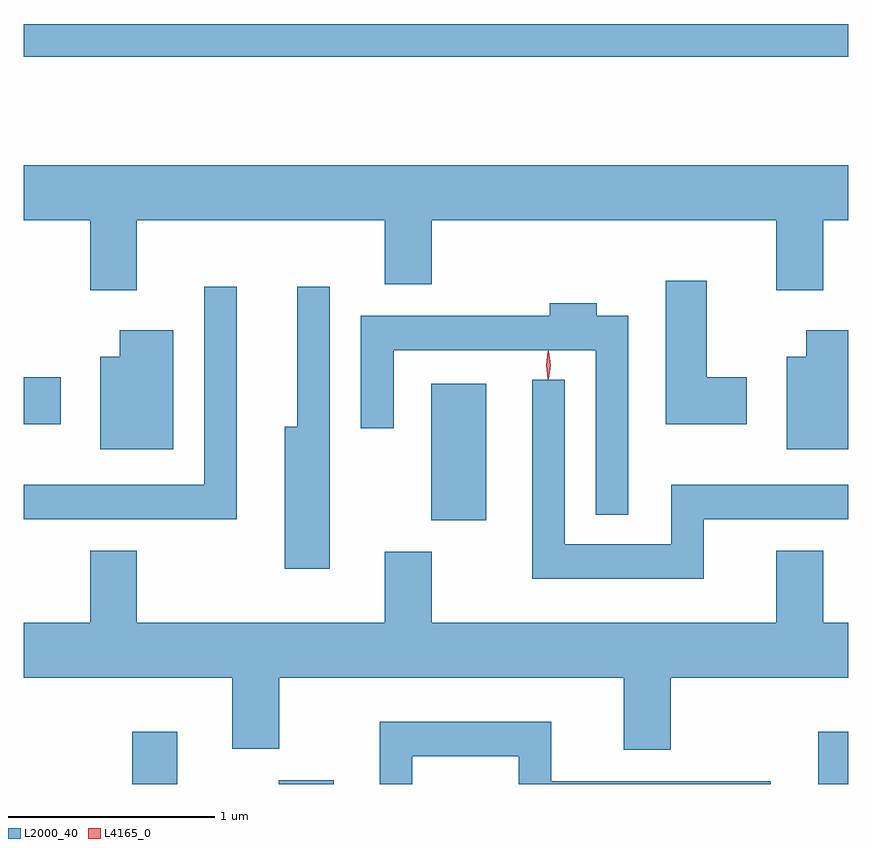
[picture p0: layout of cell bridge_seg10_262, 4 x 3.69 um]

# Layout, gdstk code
import gdstk
lib = gdstk.Library(unit=1e-6, precision=1e-09)
def R(c, l, rs):  # rectangles x0, y0, x1, y1
    for r in rs: c.add(gdstk.rectangle(r[:2], r[2:], *l))
def P(c, l, *ps):  # polygons
    for p in ps: c.add(gdstk.Polygon(p, *l))
L2000_40 = (2000, 40)
L4165_0 = (4165, 0)

bridge_seg10_262 = lib.new_cell('bridge_seg10_262')
R(bridge_seg10_262, L2000_40, [(1804.816,2100.081,1805.034,2100.334), (1805.526,2100.081,1805.794,2100.099), (1808.146,2100.081,1808.29,2100.334), (1806.266,2101.361,1806.534,2102.024), (1804.29,2101.826,1804.469,2102.054), (1804.29,2103.611,1808.29,2103.769)])
P(bridge_seg10_262, L2000_40, [(1804.839,2102.816),(1806.041,2102.816),(1806.041,2102.506),(1806.269,2102.506),(1806.269,2102.816),(1807.941,2102.816),(1807.941,2102.476),(1808.169,2102.476),(1808.169,2102.816),(1808.29,2102.816),(1808.29,2103.084),(1804.29,2103.084),(1804.29,2102.816),(1804.611,2102.816),(1804.611,2102.476),(1804.839,2102.476)],
  [(1807.799,2102.054),(1807.604,2102.054),(1807.604,2102.524),(1807.406,2102.524),(1807.406,2101.826),(1807.799,2101.826)],
  [(1805.774,2102.493),(1805.616,2102.493),(1805.616,2101.814),(1805.556,2101.814),(1805.556,2101.126),(1805.774,2101.126)],
  [(1805.324,2102.493),(1805.166,2102.493),(1805.166,2101.534),(1804.29,2101.534),(1804.29,2101.366),(1805.324,2101.366)],
  [(1807.224,2102.354),(1807.069,2102.354),(1807.069,2102.414),(1806.841,2102.414),(1806.841,2102.354),(1805.926,2102.354),(1805.926,2101.808),(1806.084,2101.808),(1806.084,2102.186),(1807.066,2102.186),(1807.066,2101.388),(1807.224,2101.388)],
  [(1808.29,2102.284),(1808.086,2102.284),(1808.086,2102.154),(1807.991,2102.154),(1807.991,2101.706),(1808.29,2101.706)],
  [(1805.014,2102.284),(1804.756,2102.284),(1804.756,2102.154),(1804.661,2102.154),(1804.661,2101.706),(1805.014,2101.706)],
  [(1807.589,2101.366),(1808.29,2101.366),(1808.29,2101.534),(1807.431,2101.534),(1807.431,2101.244),(1806.914,2101.244),(1806.914,2102.043),(1806.756,2102.043),(1806.756,2101.076),(1807.589,2101.076)],
  [(1807.429,2100.596),(1808.29,2100.596),(1808.29,2100.864),(1808.169,2100.864),(1808.169,2101.214),(1807.941,2101.214),(1807.941,2100.864),(1806.269,2100.864),(1806.269,2101.209),(1806.041,2101.209),(1806.041,2100.864),(1804.839,2100.864),(1804.839,2101.214),(1804.611,2101.214),(1804.611,2100.864),(1804.29,2100.864),(1804.29,2100.596),(1805.301,2100.596),(1805.301,2100.251),(1805.529,2100.251),(1805.529,2100.596),(1807.201,2100.596),(1807.201,2100.246),(1807.429,2100.246)],
  [(1806.174,2100.216),(1806.691,2100.216),(1806.691,2100.081),(1807.914,2100.081),(1807.914,2100.094),(1806.849,2100.094),(1806.849,2100.384),(1806.016,2100.384),(1806.016,2100.081),(1806.174,2100.081)])
P(bridge_seg10_262, L4165_0, [(1806.835,2102.047),(1806.835,2102.048),(1806.826,2102.114),(1806.835,2102.18),(1806.836,2102.18),(1806.836,2102.18),(1806.846,2102.114),(1806.836,2102.048)],
  [(1806.833,2102.044),(1806.824,2102.113),(1806.833,2102.182),(1806.834,2102.183),(1806.834,2102.182),(1806.844,2102.113),(1806.834,2102.044),(1806.834,2102.044)])

lib.write_gds('bridge_seg10_262.gds')
